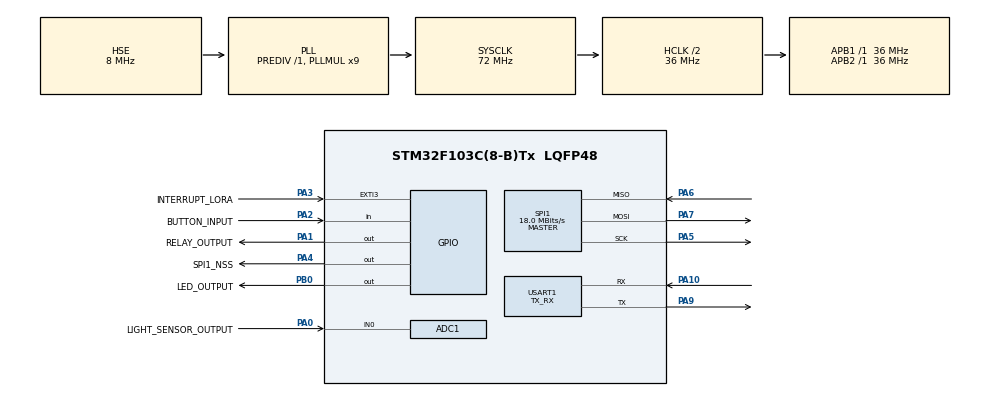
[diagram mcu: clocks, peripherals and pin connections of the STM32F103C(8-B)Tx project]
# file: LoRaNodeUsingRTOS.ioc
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Mcu.Family=STM32F1
NVIC.ADC1_2_IRQn=true\:5\:0\:true\:false\:true\:true\:true\:true
FREERTOS.Queues01=myQueue01,10,10,1,Dynamic,NULL,NULL
PA6.Mode=Full_Duplex_Master
FREERTOS.RecursiveMutexes01=nodedataMutex,Dynamic,NULL
SPI1.VirtualType=VM_MASTER
ADC1.ContinuousConvMode=DISABLE
VP_IWDG_VS_IWDG.Mode=IWDG_Activate
NVIC.EXTI3_IRQn=true\:5\:0\:true\:false\:true\:true\:true\:true
PB0.GPIO_Label=LED_OUTPUT
FREERTOS.configTICK_RATE_HZ=100
FREERTOS.configUSE_TASK_NOTIFICATIONS=1
RCC.SYSCLKSource=RCC_SYSCLKSOURCE_PLLCLK
ProjectManager.StackSize=0x400
VP_FREERTOS_VS_CMSIS_V2.Mode=CMSIS_V2
PD1-OSC_OUT.Signal=RCC_OSC_OUT
FREERTOS.configUSE_STATS_FORMATTING_FUNCTIONS=1
SPI1.Direction=SPI_DIRECTION_2LINES
RCC.HCLKFreq_Value=36000000
RCC.APB2TimFreq_Value=36000000
SPI1.CalculateBaudRate=18.0 MBits/s
FREERTOS.configMINIMAL_STACK_SIZE=64
PA1.GPIO_PuPd=GPIO_PULLUP
RCC.AHBFreq_Value=36000000
ADC1.Channel-0\#ChannelRegularConversion=ADC_CHANNEL_0
PA4.GPIO_PuPd=GPIO_PULLUP
RCC.PLLMUL=RCC_PLL_MUL9
PA4.GPIO_Speed=GPIO_SPEED_FREQ_LOW
PA14.Mode=Serial_Wire
SH.ADCx_IN0.0=ADC1_IN0,IN0
ADC1.SamplingTime-0\#ChannelRegularConversion=ADC_SAMPLETIME_239CYCLES_5
FREERTOS.configTOTAL_HEAP_SIZE=12000
Mcu.Package=LQFP48
PA6.Signal=SPI1_MISO
NVIC.TimeBase=TIM4_IRQn
PA2.GPIO_Label=BUTTON_INPUT
NVIC.TimeBaseIP=TIM4
PA10.Signal=USART1_RX
RCC.APB1TimFreq_Value=36000000
FREERTOS.configGENERATE_RUN_TIME_STATS=1
FREERTOS.configMAX_TASK_NAME_LEN=32
SPI1.BaudRatePrescaler=SPI_BAUDRATEPRESCALER_2
PA4.GPIO_Label=SPI1_NSS
PA3.Signal=GPXTI3
PA5.Mode=Full_Duplex_Master
RCC.PLLSourceVirtual=RCC_PLLSOURCE_HSE
FREERTOS.Tasks01=defaultTask,24,64,StartDefaultTask,Default,NULL,Dynamic,NULL,NULL;taskProducer,24,1024,entryProducer,Default,NULL,Dynamic,NULL,NULL;taskConsumer,16,1024,entryConsumer,Default,NULL,Dynamic,NULL,NULL;taskPeriodic,12,256,entryPeriodic,Default,NULL,Dynamic,NULL,NULL
ADC1.Rank-0\#ChannelRegularConversion=1
PA7.Mode=Full_Duplex_Master
PD1-OSC_OUT.Mode=HSE-External-Oscillator
PA10.Mode=Asynchronous
PD0-OSC_IN.Signal=RCC_OSC_IN
FREERTOS.CountingSemaphores01=rxDoneSemaphore,5,Dynamic,NULL
PA0-WKUP.GPIO_Label=LIGHT_SENSOR_OUTPUT
PA0-WKUP.Signal=ADCx_IN0
RCC.ADCPresc=RCC_ADCPCLK2_DIV4
PA13.Signal=SYS_JTMS-SWDIO
PA9.Mode=Asynchronous
PA4.PinState=GPIO_PIN_SET
ProjectManager.TargetToolchain=STM32CubeIDE
PA9.Signal=USART1_TX
RCC.USBFreq_Value=72000000
PA1.Signal=GPIO_Output
PD0-OSC_IN.Mode=HSE-External-Oscillator
PA5.Signal=SPI1_SCK
board=custom
RCC.APB2Freq_Value=36000000
USART1.Mode=MODE_TX_RX
SPI1.Mode=SPI_MODE_MASTER
PA1.GPIO_Label=RELAY_OUTPUT
RCC.AHBCLKDivider=RCC_SYSCLK_DIV2
ADC1.NbrOfConversion=1
PA13.Mode=Serial_Wire
Mcu.Name=STM32F103C(8-B)Tx
PA2.Signal=GPIO_Input
PA4.Signal=GPIO_Output
RCC.SYSCLKFreq_VALUE=72000000
ADC1.master=1
USART1.VirtualMode=VM_ASYNC
PA14.Signal=SYS_JTCK-SWCLK
ProjectManager.HeapSize=0x200
VP_SYS_VS_tim4.Mode=TIM4
NVIC.PriorityGroup=NVIC_PRIORITYGROUP_4
ADC1.NbrOfConversionFlag=1
IWDG.Prescaler=IWDG_PRESCALER_256
NVIC.TIM4_IRQn=true\:0\:0\:false\:false\:true\:false\:false\:true
RCC.APB1Freq_Value=36000000
PB0.Signal=GPIO_Output
PB0.GPIO_PuPd=GPIO_PULLUP
PA3.GPIO_Label=INTERRUPT_LORA
PA7.Signal=SPI1_MOSI

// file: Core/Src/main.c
/* USER CODE BEGIN Header */
/**
  ******************************************************************************
  * @file           : main.c
  * @brief          : Main program body
  ******************************************************************************
  * @attention
  *
  * <h2><center>&copy; Copyright (c) 2021 STMicroelectronics.
  * All rights reserved.</center></h2>
  *
  * This software component is licensed by ST under BSD 3-Clause license,
  * the "License"; You may not use this file except in compliance with the
  * License. You may obtain a copy of the License at:
  *                        opensource.org/licenses/BSD-3-Clause
  *
  ******************************************************************************
  */
  /* USER CODE END Header */
  /* Includes ------------------------------------------------------------------*/
#include "main.h"
#include "cmsis_os.h"
#include "adc.h"
#include "spi.h"
#include "usart.h"
#include "gpio.h"

/* USER CODE BEGIN Includes */
#include "stm_log.h"
#include "lora.h"
#include "data-format.h"
#include "flash.h"
#include "task.h"
/* USER CODE END Includes */

/* USER CODE BEGIN PD */
#define MAIN_TAG  "MAIN"
/* USER CODE END PD */

/* USER CODE BEGIN PV */
NodeTypedef_t thisNode = {
  .nodeID = THIS_NODE_ADDRESS,
  .location = THIS_NODE_LOCATION,
  .relayState = RELAY_STATE_OFF,
  .errCode = ERR_CODE_NONE,
  .friendNodeID = FRIEND_NODE_ADDRESS,
};

IWDG_HandleTypeDef hiwdg;
LoraConf_t LoraInit = {
  .Access_Shared_Reg = ACCESS_LORA_REGISTERS,
  .Access_Frequence_Mode = ACCESS_LOW_FREQUENCY_MODE,
  .Rf_Frequency = RF_FREQUENCY,
  .Pa_Select = PA_BOOST,
  .Output_Power = OUTPUT_POWER,
  .Ocp_Strim = OCP_TRIM,
  .Fifo_Tx_Base_Addr = FIFO_TX_BASE_ADDR,
  .Fifo_Rx_Base_Addr = FIFO_RX_BASE_ADDR,
  .Coding_Rate = CODING_RATE_4_5,
  .Band_Width = BANDWIDTH_62K5,
  .Header_Mode = IMPLICIT_HEADER,
  .Spreading_Factor = SPREADING_FACTOR_12_4096,
  .Rx_Payload_Crc = CRC_ENABLE,
  .Preamble_Length = PREAMBLE_LENGTH,
  .Payload_Length = PAYLOAD_LENGTH,
  .Detection_Optimize = 0x03,
  .Detection_Threshold = 0x0A,
  .Crystal_Oscillator = XTAL_INPUT, /* TCXO_INPUT XTAL_INPUT */
  .Pa_Dac = PA_DAC
};
/* USER CODE END PV */

void SystemClock_Config(void);
void MX_FREERTOS_Init(void);
/* USER CODE BEGIN PFP */
static void nodeInit();
static void pwdOnNotif();
/* USER CODE END PFP */

int main(void)
{

  /* MCU Configuration--------------------------------------------------------*/

  /* Reset of all peripherals, Initializes the Flash interface and the Systick. */
  HAL_Init();

  /* Configure the system clock */
  SystemClock_Config();

  /* Initialize all configured peripherals */
  MX_GPIO_Init();
  MX_ADC1_Init();
  MX_SPI1_Init();
  MX_USART1_UART_Init();
  /* USER CODE BEGIN 2 */
//  vLoraInit();
  LED_OFF();
  vLoraInit(&LoraInit);
  STM_LOGI(MAIN_TAG, "Reset cause:  {%s}", resetCauseGetName(resetCauseGet()));

  /* Retrieve old state from FLASH */
  nodeInit();

  STM_LOGI(MAIN_TAG, "NodeID:     {%d}", thisNode.nodeID);
  STM_LOGI(MAIN_TAG, "Relay:      {%s}", WHICH_RELAY(thisNode.relayState));
  STM_LOGI(MAIN_TAG, "Location:   {%d}", thisNode.location);
  STM_LOGI(MAIN_TAG, "Error:      {%s}", WHICH_RELAY_ERR(thisNode.errCode));
  STM_LOGI(MAIN_TAG, "FriendID:     {%d}", thisNode.friendNodeID);
  STM_LOGI(MAIN_TAG, "GatewayID:  {%d}", GATEWAY_ADDRESS);

  /* Send notif gw after power on */
  pwdOnNotif();

  /* Enable watchdog */
  STM_LOGI(MAIN_TAG, "Watchdog Init {%ums}", iwdgInit(&hiwdg, WATCHDOG_TIME));

  /* USER CODE END 2 */

  /* Init scheduler */
  osKernelInitialize();  /* Call init function for freertos objects (in freertos.c) */
  MX_FREERTOS_Init();
  /* Start scheduler */
  osKernelStart();

  /* We should never get here as control is now taken by the scheduler */
  /* Infinite loop */
  while (1)
  {

  }
}

void SystemClock_Config(void)
{
  RCC_OscInitTypeDef RCC_OscInitStruct = { 0 };
  RCC_ClkInitTypeDef RCC_ClkInitStruct = { 0 };
  RCC_PeriphCLKInitTypeDef PeriphClkInit = { 0 };

  /** Initializes the RCC Oscillators according to the specified parameters
  * in the RCC_OscInitTypeDef structure.
  */
  RCC_OscInitStruct.OscillatorType = RCC_OSCILLATORTYPE_LSI | RCC_OSCILLATORTYPE_HSE;
  RCC_OscInitStruct.HSEState = RCC_HSE_ON;
  RCC_OscInitStruct.HSEPredivValue = RCC_HSE_PREDIV_DIV1;
  RCC_OscInitStruct.HSIState = RCC_HSI_ON;
  RCC_OscInitStruct.LSIState = RCC_LSI_ON;
  RCC_OscInitStruct.PLL.PLLState = RCC_PLL_ON;
  RCC_OscInitStruct.PLL.PLLSource = RCC_PLLSOURCE_HSE;
  RCC_OscInitStruct.PLL.PLLMUL = RCC_PLL_MUL9;
  if (HAL_RCC_OscConfig(&RCC_OscInitStruct) != HAL_OK)
  {
    Error_Handler();
  }
  /** Initializes the CPU, AHB and APB buses clocks
  */
  RCC_ClkInitStruct.ClockType = RCC_CLOCKTYPE_HCLK | RCC_CLOCKTYPE_SYSCLK
    | RCC_CLOCKTYPE_PCLK1 | RCC_CLOCKTYPE_PCLK2;
  RCC_ClkInitStruct.SYSCLKSource = RCC_SYSCLKSOURCE_PLLCLK;
  RCC_ClkInitStruct.AHBCLKDivider = RCC_SYSCLK_DIV2;
  RCC_ClkInitStruct.APB1CLKDivider = RCC_HCLK_DIV1;
  RCC_ClkInitStruct.APB2CLKDivider = RCC_HCLK_DIV1;

  if (HAL_RCC_ClockConfig(&RCC_ClkInitStruct, FLASH_LATENCY_2) != HAL_OK)
  {
    Error_Handler();
  }
  PeriphClkInit.PeriphClockSelection = RCC_PERIPHCLK_ADC;
  PeriphClkInit.AdcClockSelection = RCC_ADCPCLK2_DIV4;
  if (HAL_RCCEx_PeriphCLKConfig(&PeriphClkInit) != HAL_OK)
  {
    Error_Handler();
  }
}

/* USER CODE BEGIN 4 */
static void nodeInit() {
  if (Flash_ReadAddress(FLASH_ADDR_RELAY_STATE) == FLASH_EMPTY)
  {
    STM_LOGV(MAIN_TAG, "data not found, write relay data to flash");
    ERROR_CHECK(Flash_ErasePage(FLASH_ADDR_RELAY_STATE, 1));
    ERROR_CHECK(Flash_WriteWord(FLASH_ADDR_NODE_ID, (uint32_t)thisNode.nodeID));
    ERROR_CHECK(Flash_WriteWord(FLASH_ADDR_FRIEND_NODE_ID, (uint32_t)thisNode.friendNodeID));
    ERROR_CHECK(Flash_WriteWord(FLASH_ADDR_RELAY_STATE, (uint32_t)thisNode.relayState));
    ERROR_CHECK(Flash_WriteWord(FLASH_ADDR_LOCATION, (uint32_t)thisNode.location));
    ERROR_CHECK(Flash_WriteWord(FLASH_ADDR_ERROR_CODE, (uint32_t)thisNode.errCode));
  }
  else
  {
    STM_LOGV(MAIN_TAG, "detect flash data, restore old state ...");
    uint8_t flashNodeID = Flash_ReadAddress(FLASH_ADDR_NODE_ID);
    if (thisNode.nodeID != flashNodeID && flashNodeID != 0xFF)
    {
      STM_LOGI(MAIN_TAG, "NodeID update: %d ---> %d", thisNode.nodeID, flashNodeID);
      thisNode.nodeID = flashNodeID;
    }

    uint8_t flashFriendNodeID = Flash_ReadAddress(FLASH_ADDR_FRIEND_NODE_ID);
    if (thisNode.friendNodeID != flashFriendNodeID && flashFriendNodeID != 0xFF && flashFriendNodeID != thisNode.nodeID)
    {
      STM_LOGI(MAIN_TAG, "Friend NodeID update: %d ---> %d", thisNode.friendNodeID, flashFriendNodeID);
      thisNode.friendNodeID = flashFriendNodeID;
    }

    thisNode.relayState = Flash_ReadAddress(FLASH_ADDR_RELAY_STATE);
    thisNode.location = Flash_ReadAddress(FLASH_ADDR_LOCATION);
    thisNode.errCode = Flash_ReadAddress(FLASH_ADDR_ERROR_CODE);
    RELAY_CONTROL(thisNode.relayState);
  }
}

static void pwdOnNotif()
{
  uint8_t notifData[PAYLOAD_LENGTH];
  PACK_NOTIF_MSG(notifData, thisNode, TIME_TO_LIVE_DEFAULT);
  LoRaTransmit(notifData, PAYLOAD_LENGTH, LORA_DELAY);
}

void updateDataToFlash(void)
{
  taskENTER_CRITICAL();
  ERROR_CHECK(Flash_ErasePage(FLASH_ADDR_RELAY_STATE, 1));
  ERROR_CHECK(Flash_WriteWord(FLASH_ADDR_FRIEND_NODE_ID, (uint32_t)thisNode.friendNodeID));
  ERROR_CHECK(Flash_WriteWord(FLASH_ADDR_RELAY_STATE, (uint32_t)thisNode.relayState));
  ERROR_CHECK(Flash_WriteWord(FLASH_ADDR_LOCATION, (uint32_t)thisNode.location));
  ERROR_CHECK(Flash_WriteWord(FLASH_ADDR_ERROR_CODE, (uint32_t)thisNode.errCode));
  taskEXIT_CRITICAL();
  STM_LOGD(MAIN_TAG, "update data to flash");
}

/* USER CODE END 4 */

 /**
  * @brief  Period elapsed callback in non blocking mode
  * @note   This function is called  when TIM4 interrupt took place, inside
  * HAL_TIM_IRQHandler(). It makes a direct call to HAL_IncTick() to increment
  * a global variable "uwTick" used as application time base.
  * @param  htim : TIM handle
  * @retval None
  */
void HAL_TIM_PeriodElapsedCallback(TIM_HandleTypeDef* htim)
{
  if (htim->Instance == TIM4) {
    HAL_IncTick();
  }
}

void Error_Handler(void)
{
  __disable_irq();
  while (1)
  {
  }
}

/************************ (C) COPYRIGHT STMicroelectronics *****END OF FILE****/

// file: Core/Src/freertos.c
/* USER CODE BEGIN Header */
/**
  ******************************************************************************
  * File Name          : freertos.c
  * Description        : Code for freertos applications
  ******************************************************************************
  * @attention
  *
  * <h2><center>&copy; Copyright (c) 2021 STMicroelectronics.
  * All rights reserved.</center></h2>
  *
  * This software component is licensed by ST under Ultimate Liberty license
  * SLA0044, the "License"; You may not use this file except in compliance with
  * the License. You may obtain a copy of the License at:
  *                             www.st.com/SLA0044
  *
  ******************************************************************************
  */
  /* USER CODE END Header */

  /* Includes ------------------------------------------------------------------*/
#include "FreeRTOS.h"
#include "task.h"
#include "main.h"
#include "cmsis_os.h"

/* USER CODE BEGIN Includes */
#include "main.h"
#include "stm_log.h"
#include "lora.h"
#include "queue.h"
#include "data-format.h"
#include "light-sensor.h"
#include <stdbool.h>
#include "flash.h"
#include "led_mngr.h"

/* USER CODE END Includes */

/* USER CODE BEGIN PD */
#define PRODUCER_TAG  "PRODUCER"
#define CONSUMER_TAG  "CONSUMER"
/* USER CODE END PD */

/* USER CODE BEGIN Variables */
extern NodeTypedef_t thisNode;
extern uint32_t adcLightSensor;
extern IWDG_HandleTypeDef hiwdg;

static StateMachineTypeDef_t stateMachine = STATE_WAIT_FOR_MSG;

/* USER CODE END Variables */
/* Definitions for taskProducer */
osThreadId_t taskProducerHandle;
const osThreadAttr_t taskProducer_attributes = {
  .name = "taskProducer",
  .stack_size = 1200 * 4,
  .priority = (osPriority_t)osPriorityNormal,
};
/* Definitions for taskConsumer */
osThreadId_t taskConsumerHandle;
const osThreadAttr_t taskConsumer_attributes = {
  .name = "taskConsumer",
  .stack_size = 1024 * 4,
  .priority = (osPriority_t)osPriorityNormal3,
};
/* Definitions for taskPeriodic */
osThreadId_t taskPeriodicHandle;
const osThreadAttr_t taskPeriodic_attributes = {
  .name = "taskPeriodic",
  .stack_size = 128 * 4,
  .priority = (osPriority_t)osPriorityAboveNormal,
};
/* Definitions for myQueue01 */
osMessageQueueId_t myQueue01Handle;
const osMessageQueueAttr_t myQueue01_attributes = {
  .name = "myQueue01"
};
/* Definitions for rxDoneSemaphore */
osSemaphoreId_t rxDoneSemaphoreHandle;
const osSemaphoreAttr_t rxDoneSemaphore_attributes = {
  .name = "rxDoneSemaphore"
};

/* USER CODE BEGIN FunctionPrototypes */
static void opcodeInquiry(uint8_t seqID);
static void opcodeRelayControl(uint8_t newState, uint8_t seqID);
static void opcodeMcuReset(void);
static void opcodeLocationUpdate(uint8_t newLocation, uint8_t seqID);
static void opcodeFriendNodeIdUpdate(uint8_t newFriendNodeID, uint8_t seqID);

static void stateChange(StateMachineTypeDef_t newState, int caller);
/* USER CODE END FunctionPrototypes */

void StartDefaultTask(void* argument);
void entryProducer(void* argument);
void entryConsumer(void* argument);
void entryPeriodic(void* argument);

void MX_FREERTOS_Init(void); /* (MISRA C 2004 rule 8.1) */

/* Hook prototypes */
void configureTimerForRunTimeStats(void);
unsigned long getRunTimeCounterValue(void);

/* USER CODE BEGIN 1 */
/* Functions needed when configGENERATE_RUN_TIME_STATS is on */
__weak void configureTimerForRunTimeStats(void)
{

}

__weak unsigned long getRunTimeCounterValue(void)
{
  return 0;
}
/* USER CODE END 1 */

void MX_FREERTOS_Init(void) {

  /* Create the recursive mutex(es) */
  /* creation of nodedataMutex */

  /* Create the semaphores(s) */
  /* creation of rxDoneSemaphore */
  rxDoneSemaphoreHandle = osSemaphoreNew(5, 0, &rxDoneSemaphore_attributes);

  /* USER CODE BEGIN RTOS_SEMAPHORES */
  STM_ERROR_CHECK(rxDoneSemaphoreHandle == NULL, "create rxDoneSemaphoreHandle failed");
  /* USER CODE END RTOS_SEMAPHORES */

  /* Create the queue(s) */
  /* creation of myQueue01 */
  myQueue01Handle = osMessageQueueNew(10, 10, &myQueue01_attributes);

  /* USER CODE BEGIN RTOS_QUEUES */
  STM_ERROR_CHECK(myQueue01Handle == NULL, "create myQueue01Handle failed");

  /* USER CODE END RTOS_QUEUES */

  /* Create the thread(s) */

  /* creation of taskProducer */
  taskProducerHandle = osThreadNew(entryProducer, NULL, &taskProducer_attributes);

  /* creation of taskConsumer */
  taskConsumerHandle = osThreadNew(entryConsumer, NULL, &taskConsumer_attributes);

  /* creation of taskPeriodic */
  taskPeriodicHandle = osThreadNew(entryPeriodic, NULL, &taskPeriodic_attributes);

  /* USER CODE BEGIN RTOS_THREADS */
  STM_ERROR_CHECK(taskProducerHandle == NULL, "create taskProducerHandle failed");
  STM_ERROR_CHECK(taskConsumerHandle == NULL, "create taskConsumerHandle failed");
  STM_ERROR_CHECK(taskPeriodicHandle == NULL, "create taskPeriodicHandle failed");
  /* USER CODE END RTOS_THREADS */

  /* USER CODE BEGIN RTOS_EVENTS */
  STM_LOGV("MileStone", "Kernel starts");
  /* USER CODE END RTOS_EVENTS */

}

void StartDefaultTask(void* argument)
{
  for (;;)
  {
    osDelay(1);
  }
}

void entryProducer(void* argument)
{
  /* USER CODE BEGIN entryProducer */
  osStatus_t err;
  uint8_t receivedMsg[PAYLOAD_LENGTH];
  uint32_t tickToWait = pdMS_TO_TICKS(5000);
  /* Infinite loop */
  for (;;)
  {
    err = osSemaphoreAcquire(rxDoneSemaphoreHandle, portMAX_DELAY);
    if (!err)
    {
      STM_LOGV(PRODUCER_TAG, "Get semaphore ok");
      if (LoRaGetITFlag(PAYLOAD_CRC_ERROR_MskPos) == 1)
      {
        STM_LOGW(PRODUCER_TAG, "Payload CRC failed");
        stateChange(STATE_WAIT_FOR_MSG, __LINE__);
      }
      else
      {
        stateChange(STATE_MESSAGE_PROCESSING, __LINE__);
        vGetLoRaData(receivedMsg, PAYLOAD_LENGTH);

        STM_LOGI(PRODUCER_TAG, "---> Got message: source: %d - dest: %d - this: %d",
          receivedMsg[INDEX_SOURCE_ID],
          receivedMsg[INDEX_DEST_ID],
          thisNode.nodeID);

        if (receivedMsg[INDEX_DEST_ID] == BROADCAST_ADDRESS || receivedMsg[INDEX_DEST_ID] == thisNode.nodeID)
        {
          if (receivedMsg[INDEX_MSG_TYPE] == MSG_TYPE_REQUEST
            && receivedMsg[INDEX_SOURCE_ID] == GATEWAY_ADDRESS)
          {
            STM_ERROR_CHECK((err = osMessageQueuePut(myQueue01Handle, receivedMsg, 0, tickToWait)) != osOK, "enqueue failed, err %d\n\r NbOfMsg in queue : % d\n\ravailable size : % d", \
              err, \
              osMessageQueueGetCount(myQueue01Handle), \
              osMessageQueueGetSpace(myQueue01Handle));

            if (err == osOK)
            {
              STM_LOGV(PRODUCER_TAG, "enqueue ok");
            }
            else
            {
              stateChange(STATE_WAIT_FOR_MSG, __LINE__);
            }
          }
          else
          {
            STM_LOGW(PRODUCER_TAG, "Msg type not valid: {%s}", WHICH_MSG_TYPE(receivedMsg[INDEX_MSG_TYPE]));
          }
        }
        else if (thisNode.friendNodeID != UNUSED_ADDRESS
          && (receivedMsg[INDEX_DEST_ID] == thisNode.friendNodeID || receivedMsg[INDEX_SOURCE_ID] == thisNode.friendNodeID))
        {
          STM_LOGD(PRODUCER_TAG, "Forward friend node msg");
          receivedMsg[INDEX_TIME_TO_LIVE] = TIME_TO_LIVE_NONE;
          LoRaTransmit(receivedMsg, PAYLOAD_LENGTH, LORA_DELAY);
          stateChange(STATE_WAIT_FOR_MSG, __LINE__);
        }
        else if (receivedMsg[INDEX_SOURCE_ID] != thisNode.nodeID && receivedMsg[INDEX_DEST_ID] != thisNode.nodeID && receivedMsg[INDEX_TIME_TO_LIVE] > TIME_TO_LIVE_NONE && receivedMsg[INDEX_TIME_TO_LIVE] <= TIME_TO_LIVE_MAX)
        {
          STM_LOGD(PRODUCER_TAG, "Relay msg, TTL: %d", receivedMsg[INDEX_TIME_TO_LIVE]);
          receivedMsg[INDEX_TIME_TO_LIVE]--;
          LoRaTransmit(receivedMsg, PAYLOAD_LENGTH, LORA_DELAY);
          stateChange(STATE_WAIT_FOR_MSG, __LINE__);
        }
        else
        {
          STM_LOGD(PRODUCER_TAG, "not matched ---> ignore");
          stateChange(STATE_WAIT_FOR_MSG, __LINE__);
        }
      }
      LoRaClearITFlag(RX_DONE_Msk | PAYLOAD_CRC_ERROR_Msk);
    }
  }
  /* USER CODE END entryProducer */
}

void entryConsumer(void* argument)
{
  /* USER CODE BEGIN entryConsumer */
  static uint8_t receivedMsgFromQueue[PAYLOAD_LENGTH];
  osStatus_t err;
  /* Infinite loop */
  for (;;)
  {
    err = osMessageQueueGet(myQueue01Handle, receivedMsgFromQueue, 0, portMAX_DELAY);
    if (!err)
    {
      printf("\r\n");
      STM_LOGV(CONSUMER_TAG, "Dequeue ok");
      STM_LOGI(CONSUMER_TAG, "Request opcode: %d", receivedMsgFromQueue[INDEX_COMMAND_OPCODE]);
      switch (receivedMsgFromQueue[INDEX_COMMAND_OPCODE])
      {
      case OPCODE_REQUEST_STATE:
        opcodeInquiry(receivedMsgFromQueue[INDEX_SEQUENCE_ID]);
        break;
      case OPCODE_REQUEST_RELAY_CONTROL:
        opcodeRelayControl(receivedMsgFromQueue[INDEX_DATA_RELAY_STATE], receivedMsgFromQueue[INDEX_SEQUENCE_ID]);
        break;
      case OPCODE_REQUEST_MCU_RESET:
        opcodeMcuReset();
        break;
      case OPCODE_REQUEST_LOCATION_UPDATE:
        opcodeLocationUpdate(receivedMsgFromQueue[INDEX_DATA_LOCATION], receivedMsgFromQueue[INDEX_SEQUENCE_ID]);
        break;
      case OPCODE_REQUEST_FRIEND_NODE_ID_UPDATE:
        opcodeFriendNodeIdUpdate(receivedMsgFromQueue[INDEX_DATA_FRIEND_NODE_ID], receivedMsgFromQueue[INDEX_SEQUENCE_ID]);
        break;
      default:
        STM_LOGW(CONSUMER_TAG, "Opcode not found %d", receivedMsgFromQueue[INDEX_COMMAND_OPCODE]);
        break;
      }

      updateDataToFlash();
      stateChange(STATE_WAIT_FOR_MSG, __LINE__);
    }
  }
  /* USER CODE END entryConsumer */
}

void entryPeriodic(void* argument)
{
  /* USER CODE BEGIN entryPeriodic */
  static const uint32_t DELAY_MS = 500;
  static const uint32_t tickToWait = pdMS_TO_TICKS(DELAY_MS);
  /* Infinite loop */
  for (;;)
  {
    LedControl(thisNode.errCode, thisNode.relayState, 3 * DELAY_MS, DELAY_MS);
    if (stateMachine == STATE_WAIT_FOR_MSG && ucGetLoraWorkingMode() != RXCONTINUOUS_MODE)
    {
      vModeInit(RXCONTINUOUS_MODE);
    }

    HAL_IWDG_Refresh(&hiwdg);
    osDelay(tickToWait);
  }
  /* USER CODE END entryPeriodic */
}

/* USER CODE BEGIN Application */
static void opcodeInquiry(uint8_t seqID)
{
  uint8_t msg[PAYLOAD_LENGTH];
  PACK_RESPONSE_MSG(msg, thisNode, MSG_STS_OK, seqID, OPCODE_RESPOSNE_STATE, TIME_TO_LIVE_DEFAULT);
  LoRaTransmit(msg, PAYLOAD_LENGTH, LORA_DELAY);
}

static void opcodeRelayControl(uint8_t newState, uint8_t seqID)
{
  uint8_t msg[PAYLOAD_LENGTH];
  uint8_t countCheck = 0;
  bool isAck = false;
  bool isChecking = true;
  if (thisNode.relayState != newState)
  {
    STM_LOGI(CONSUMER_TAG, "State changes: {%s} to {%s}", WHICH_RELAY(thisNode.relayState), WHICH_RELAY(newState));
    thisNode.relayState = newState;
    RELAY_CONTROL(thisNode.relayState);
    STM_LOGV(CONSUMER_TAG, "Checking relay ...");
    ADC_READ_LIGHTSENSOR();
    while (isChecking && ++countCheck <= NB_OF_RELAY_CHECK) {
      STM_LOGD(CONSUMER_TAG, "adcLightSensor: %d - count: %d", adcLightSensor, countCheck);

      if (((adcLightSensor < LIGHTSENSOR_THRESHOLD) && (thisNode.relayState == RELAY_STATE_ON)) ||
        ((adcLightSensor >= LIGHTSENSOR_THRESHOLD) && (thisNode.relayState == RELAY_STATE_OFF)))
      {
        isChecking = false;
        isAck = true;
        thisNode.errCode = ERR_CODE_NONE;
        STM_LOGD(CONSUMER_TAG, "----> check ok ");
      }
      else if (countCheck == NB_OF_RELAY_CHECK) {
        STM_LOGW(CONSUMER_TAG, "----> check failed");
        isAck = false;
        thisNode.errCode = (thisNode.relayState == RELAY_STATE_ON) ? ERR_CODE_LIGHT_ON_FAILED : ERR_CODE_LIGHT_OFF_FAILED;
        thisNode.relayState = !thisNode.relayState;
        RELAY_CONTROL(thisNode.relayState);
      }
      else {
        ADC_READ_LIGHTSENSOR();
        osDelay(10);
        STM_LOGD(CONSUMER_TAG, "----> check again");
      }
    }
  }
  else
  {
    isAck = true;
    thisNode.errCode = ERR_CODE_NONE;
    STM_LOGV(CONSUMER_TAG, "----> already %s", WHICH_RELAY(thisNode.relayState));
  }

  if (isAck) {
    PACK_RESPONSE_MSG(msg, thisNode, MSG_STS_OK, seqID, OPCODE_RESPOSNE_RELAY_CONTROL, TIME_TO_LIVE_DEFAULT);
  }
  else {
    PACK_RESPONSE_MSG(msg, thisNode, MSG_STS_FAILED, seqID, OPCODE_RESPOSNE_RELAY_CONTROL, TIME_TO_LIVE_DEFAULT);
  }
  LoRaTransmit(msg, PAYLOAD_LENGTH, LORA_DELAY);
}

static void opcodeMcuReset(void)
{
  STM_LOGV(CONSUMER_TAG, "Perform self reset");
  NVIC_SystemReset();
}

static void opcodeLocationUpdate(uint8_t newLocation, uint8_t seqID)
{
  uint8_t msg[PAYLOAD_LENGTH];
  if (newLocation != LOCATION_NONE)
  {
    thisNode.location = newLocation;
    STM_LOGI(CONSUMER_TAG, "----> Update location %d", newLocation);
    PACK_RESPONSE_MSG(msg, thisNode, MSG_STS_OK, seqID, OPCODE_RESPOSNE_LOCATION_UPDATE, TIME_TO_LIVE_DEFAULT);
  }
  else
  {
    STM_LOGW(CONSUMER_TAG, "Invalid data %d", newLocation);
    PACK_RESPONSE_MSG(msg, thisNode, MSG_STS_FAILED, seqID, OPCODE_RESPOSNE_LOCATION_UPDATE, TIME_TO_LIVE_DEFAULT);
  }
  LoRaTransmit(msg, PAYLOAD_LENGTH, LORA_DELAY);
}

static void opcodeFriendNodeIdUpdate(uint8_t newFriendNodeID, uint8_t seqID)
{
  uint8_t msg[PAYLOAD_LENGTH];
  if (thisNode.friendNodeID != newFriendNodeID && thisNode.nodeID != newFriendNodeID)
  {
    thisNode.friendNodeID = newFriendNodeID;
  }
  PACK_RESPONSE_MSG(msg, thisNode, MSG_STS_OK, seqID, OPCODE_RESPOSNE_FRIEND_NODE_ID_UPDATE, TIME_TO_LIVE_DEFAULT);
  LoRaTransmit(msg, PAYLOAD_LENGTH, LORA_DELAY);
}

static void stateChange(StateMachineTypeDef_t newState, int caller)
{
  STM_LOGD("STATE MACHINE", "CALLER: %d - {%s} to {%s}",
    caller,
    WHICH_STATE(stateMachine),
    WHICH_STATE(newState));

  if (newState == STATE_WAIT_FOR_MSG)
  {
    vModeInit(RXCONTINUOUS_MODE);
  }
  else if (newState == STATE_MESSAGE_PROCESSING)
  {
    vModeInit(STDBY_MODE);
  }
  stateMachine = newState;
}

/* USER CODE END Application */

/************************ (C) COPYRIGHT STMicroelectronics *****END OF FILE****/
